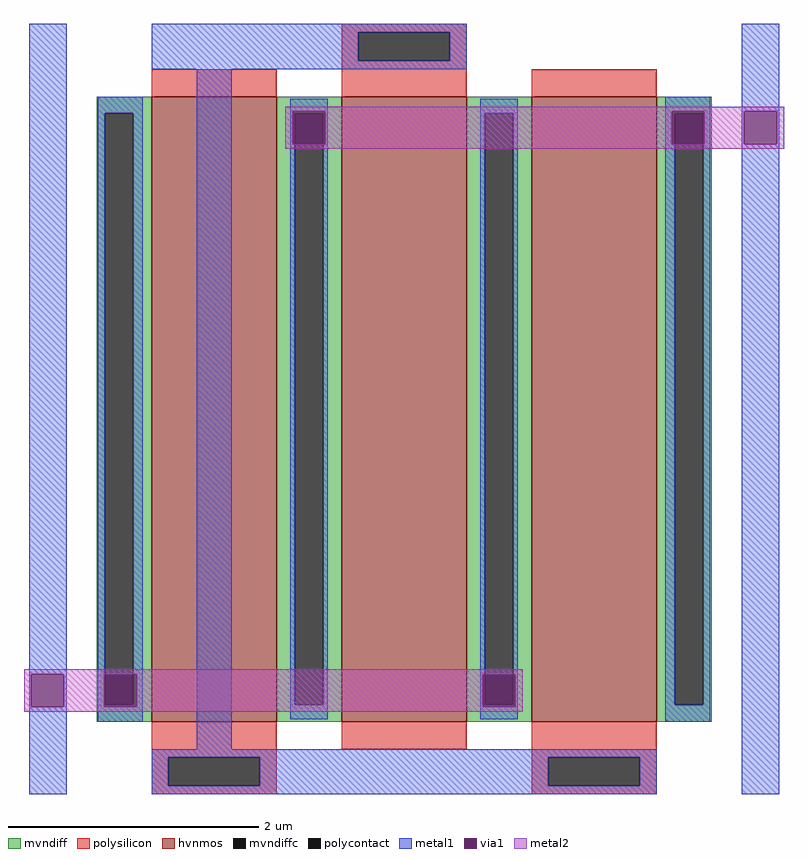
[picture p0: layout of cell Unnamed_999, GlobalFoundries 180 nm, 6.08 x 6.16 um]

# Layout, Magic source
magic
tech gf180mcuD
magscale 1 10
<< hvnmos >>
rect 14 0 214 1000
rect 318 0 518 1000
rect 622 0 822 1000
<< mvndiff >>
rect -74 973 14 1000
rect -74 27 -61 973
rect -15 27 14 973
rect -74 0 14 27
rect 214 973 318 1000
rect 214 27 243 973
rect 289 27 318 973
rect 214 0 318 27
rect 518 973 622 1000
rect 518 27 547 973
rect 593 27 622 973
rect 518 0 622 27
rect 822 973 910 1000
rect 822 27 851 973
rect 897 27 910 973
rect 822 0 910 27
<< mvndiffc >>
rect -61 27 -15 973
rect 243 27 289 973
rect 547 27 593 973
rect 851 27 897 973
<< polysilicon >>
rect 318 1103 518 1116
rect 318 1057 345 1103
rect 491 1057 518 1103
rect 14 1000 214 1044
rect 318 1000 518 1057
rect 622 1000 822 1044
rect 14 -57 214 0
rect 318 -44 518 0
rect 14 -103 41 -57
rect 187 -103 214 -57
rect 14 -116 214 -103
rect 622 -57 822 0
rect 622 -103 649 -57
rect 795 -103 822 -57
rect 622 -116 822 -103
<< polycontact >>
rect 345 1057 491 1103
rect 41 -103 187 -57
rect 649 -103 795 -57
<< metal1 >>
rect -182 76 -122 1116
rect 14 1103 518 1116
rect 14 1057 345 1103
rect 491 1057 518 1103
rect 14 1044 518 1057
rect -182 24 -178 76
rect -126 24 -122 76
rect -182 -116 -122 24
rect -72 973 0 1000
rect -72 76 -61 973
rect -15 76 0 973
rect -72 24 -62 76
rect -10 24 0 76
rect -72 0 0 24
rect 86 -44 142 1044
rect 236 976 296 996
rect 236 924 240 976
rect 292 924 296 976
rect 236 27 243 924
rect 289 27 296 924
rect 236 4 296 27
rect 540 973 600 996
rect 540 76 547 973
rect 593 76 600 973
rect 540 24 544 76
rect 596 24 600 76
rect 540 4 600 24
rect 836 976 908 1000
rect 836 924 846 976
rect 898 924 908 976
rect 836 27 851 924
rect 897 27 908 924
rect 836 0 908 27
rect 958 976 1018 1116
rect 958 924 962 976
rect 1014 924 1018 976
rect 14 -57 822 -44
rect 14 -103 41 -57
rect 187 -103 649 -57
rect 795 -103 822 -57
rect 14 -116 822 -103
rect 958 -116 1018 924
<< via1 >>
rect -178 24 -126 76
rect -62 27 -61 76
rect -61 27 -15 76
rect -15 27 -10 76
rect -62 24 -10 27
rect 240 973 292 976
rect 240 924 243 973
rect 243 924 289 973
rect 289 924 292 973
rect 544 27 547 76
rect 547 27 593 76
rect 593 27 596 76
rect 544 24 596 27
rect 846 973 898 976
rect 846 924 851 973
rect 851 924 897 973
rect 897 924 898 973
rect 962 924 1014 976
<< metal2 >>
rect 228 976 1026 984
rect 228 924 240 976
rect 292 924 846 976
rect 898 924 962 976
rect 1014 924 1026 976
rect 228 916 1026 924
rect -190 76 608 84
rect -190 24 -178 76
rect -126 24 -62 76
rect -10 24 544 76
rect 596 24 608 76
rect -190 16 608 24
<< end >>
